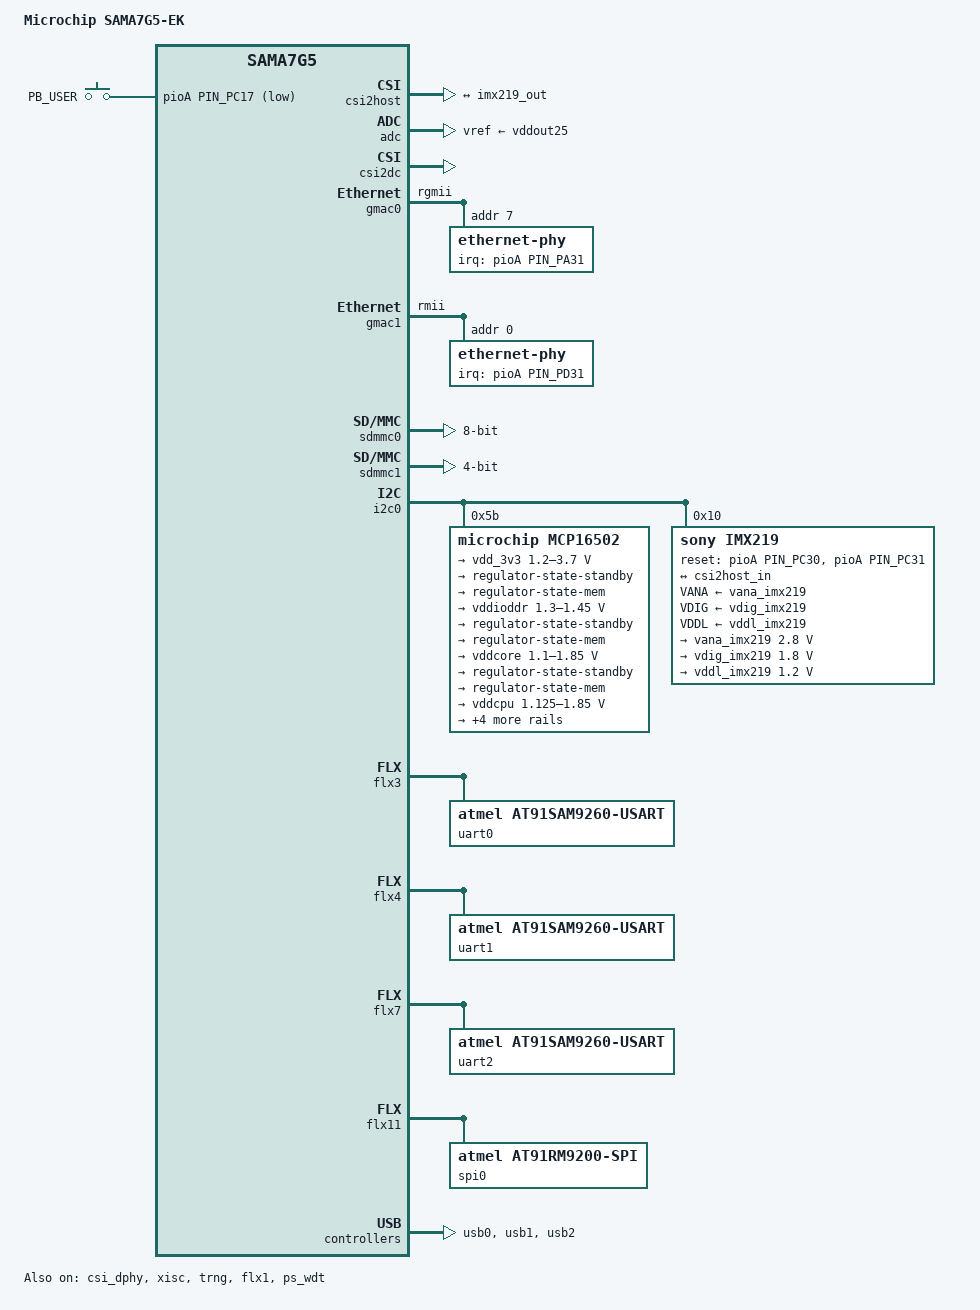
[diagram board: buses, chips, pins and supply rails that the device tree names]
// SPDX-License-Identifier: (GPL-2.0+ OR MIT)
/*
 * at91-sama7g5ek.dts - Device Tree file for SAMA7G5-EK board
 *
 *  Copyright (c) 2020, Microchip Technology Inc. and its subsidiaries
 *
 *  Author: Eugen Hristev <eugen.hristev@microchip.com>
 *  Author: Claudiu Beznea <claudiu.beznea@microchip.com>
 *
 */
/dts-v1/;
#include "sama7g5-pinfunc.h"
#include "sama7g5.dtsi"
#include <dt-bindings/mfd/atmel-flexcom.h>
#include <dt-bindings/input/input.h>

/ {
	model = "Microchip SAMA7G5-EK";
	compatible = "microchip,sama7g5ek", "microchip,sama7g5", "microchip,sama7";

	chosen {
		bootargs = "console=ttyS0,115200 earlycon earlyprintk=serial,ttyS0 ignore_loglevel rw root=/dev/mmcblk0p2 memtest=0 rootfstype=ext4 rootwait cma=256m";
		stdout-path = "serial0:115200n8";
	};

	aliases {
		serial0 = &uart0;
		serial1 = &uart1;
		serial2 = &uart2;
		i2c0 = &i2c0;
	};

	clocks {
		slow_xtal {
			clock-frequency = <32768>;
		};

		main_xtal {
			clock-frequency = <24000000>;
		};
	};

	gpio_keys {
		compatible = "gpio-keys";

		pinctrl-names = "default";
		pinctrl-0 = <&pinctrl_key_gpio_default>;

		bp1 {
			label = "PB_USER";
			gpios = <&pioA PIN_PC17 GPIO_ACTIVE_LOW>;
			linux,code = <KEY_PROG1>;
			wakeup-source;
		};
	};
};

&dma0 {
	status = "okay";
};

&dma1 {
	status = "okay";
};

&dma2 {
	status = "okay";
};

&csi_dphy {
	status = "okay";
};

&csi2host {
	status = "okay";

	port@1 {
		reg = <1>;
		csi2host_in: endpoint {
			remote-endpoint = <&imx219_out>;
			data-lanes = <1 2>;
			bus-type = <4>;
			clock-lanes = <0>;
		};
	};
};

&adc {
	vddana-supply = <&vddout25>;
	vref-supply = <&vddout25>;
	pinctrl-names = "default";
	pinctrl-0 = <&pinctrl_mikrobus1_an_default &pinctrl_mikrobus2_an_default>;
	status = "okay";
};

&csi2dc {
	status = "okay";
};

&xisc {
	status = "okay";
};

&gic {
	status = "okay";
};

&gmac0 {
	#address-cells = <1>;
	#size-cells = <0>;
	pinctrl-names = "default";
	pinctrl-0 = <&pinctrl_gmac0_default &pinctrl_gmac0_phy_irq>;
	phy-mode = "rgmii";
	status = "okay";

	ethernet-phy@7 {
		reg = <0x7>;
		interrupt-parent = <&pioA>;
		interrupts = <PIN_PA31 IRQ_TYPE_LEVEL_LOW>;
		txc-skew-ps = <1860>;
		txdv-skew-ps = <(-900)>;
		txd0-skew-ps = <(-900)>;
		txd1-skew-ps = <(-900)>;
		txd2-skew-ps = <(-900)>;
		txd3-skew-ps = <(-900)>;
	};
};

&gmac1 {
	#address-cells = <1>;
	#size-cells = <0>;
	pinctrl-names = "default";
	pinctrl-0 = <&pinctrl_gmac1_default &pinctrl_gmac1_phy_irq>;
	phy-mode = "rmii";
	status = "okay";

	ethernet-phy@0 {
		reg = <0x0>;
		interrupt-parent = <&pioA>;
		interrupts = <PIN_PD31 IRQ_TYPE_LEVEL_LOW>;
	};
};

&sdmmc0 {
	bus-width = <8>;
	mmc-ddr-3_3v;
	pinctrl-names = "default";
	pinctrl-0 = <&pinctrl_sdmmc0_default>;
	status = "okay";
};

&sdmmc1 {
	bus-width = <4>;
	mmc-ddr-3_3v;
	pinctrl-names = "default";
	pinctrl-0 = <&pinctrl_sdmmc1_default>;
	status = "okay";
};

&trng {
	status = "okay";
};

&flx1 {
	atmel,flexcom-mode = <ATMEL_FLEXCOM_MODE_TWI>;
	status = "okay";

	i2c0: i2c@600 {
		compatible = "microchip,sam9x60-i2c";
		reg = <0x600 0x200>;
		interrupts = <GIC_SPI 39 IRQ_TYPE_LEVEL_HIGH>;
		pinctrl-names = "default";
		pinctrl-0 = <&pinctrl_flx1_default>;
		#address-cells = <1>;
		#size-cells = <0>;
		clocks = <&pmc PMC_TYPE_PERIPHERAL 39>;
		atmel,fifo-size = <32>;
		dmas = <&dma0 AT91_XDMAC_DT_PERID(7)>,
			<&dma0 AT91_XDMAC_DT_PERID(8)>;
		dma-names = "rx", "tx";
		atmel,use-dma-rx;
		atmel,use-dma-tx;

		i2c-analog-filter;
		i2c-digital-filter;
		i2c-digital-filter-width-ns = <35>;
		status = "okay";

		mcp16502@5b {
			compatible = "microchip,mcp16502";
			reg = <0x5b>;
			status = "okay";

			regulators {
				vdd_3v3: VDD_IO {
					regulator-name = "VDD_IO";
					regulator-min-microvolt = <1200000>;
					regulator-max-microvolt = <3700000>;
					regulator-initial-mode = <2>;
					regulator-allowed-modes = <2>, <4>;
					regulator-always-on;

					regulator-state-standby {
						regulator-on-in-suspend;
						regulator-mode = <4>;
					};

					regulator-state-mem {
						regulator-off-in-suspend;
						regulator-mode = <4>;
					};
				};

				vddioddr: VDD_DDR {
					regulator-name = "VDD_DDR";
					regulator-min-microvolt = <1300000>;
					regulator-max-microvolt = <1450000>;
					regulator-initial-mode = <2>;
					regulator-allowed-modes = <2>, <4>;
					regulator-always-on;

					regulator-state-standby {
						regulator-on-in-suspend;
						regulator-mode = <4>;
					};

					regulator-state-mem {
						regulator-on-in-suspend;
						regulator-mode = <4>;
					};
				};

				vddcore: VDD_CORE {
					regulator-name = "VDD_CORE";
					regulator-min-microvolt = <1100000>;
					regulator-max-microvolt = <1850000>;
					regulator-initial-mode = <2>;
					regulator-allowed-modes = <2>, <4>;
					regulator-always-on;

					regulator-state-standby {
						regulator-on-in-suspend;
						regulator-mode = <4>;
					};

					regulator-state-mem {
						regulator-off-in-suspend;
						regulator-mode = <4>;
					};
				};

				vddcpu: VDD_OTHER {
					regulator-name = "VDD_OTHER";
					regulator-min-microvolt = <1125000>;
					regulator-max-microvolt = <1850000>;
					regulator-initial-mode = <2>;
					regulator-allowed-modes = <2>, <4>;
					regulator-ramp-delay = <3125>;
					regulator-always-on;

					regulator-state-standby {
						regulator-on-in-suspend;
						regulator-mode = <4>;
					};

					regulator-state-mem {
						regulator-off-in-suspend;
						regulator-mode = <4>;
					};
				};

				vldo1: LDO1 {
					regulator-name = "LDO1";
					regulator-min-microvolt = <1200000>;
					regulator-max-microvolt = <3700000>;
					regulator-always-on;

					regulator-state-standby {
						regulator-on-in-suspend;
					};

					regulator-state-mem {
						regulator-off-in-suspend;
					};
				};

				vldo2: LDO2 {
					regulator-name = "LDO2";
					regulator-min-microvolt = <1200000>;
					regulator-max-microvolt = <3700000>;

					regulator-state-standby {
						regulator-on-in-suspend;
					};

					regulator-state-mem {
						regulator-off-in-suspend;
					};
				};
			};
		};
	};
};

&flx3 {
	atmel,flexcom-mode = <ATMEL_FLEXCOM_MODE_USART>;
	status = "okay";

	uart0: serial@200 {
		compatible = "atmel,at91sam9260-usart";
		reg = <0x200 0x200>;
		interrupts = <GIC_SPI 41 IRQ_TYPE_LEVEL_HIGH>;
		pinctrl-names = "default";
		pinctrl-0 = <&pinctrl_flx3_default>;
		clocks = <&pmc PMC_TYPE_PERIPHERAL 41>;
		clock-names = "usart";
		dmas = <&dma1 AT91_XDMAC_DT_PERID(12)>,
			<&dma1 AT91_XDMAC_DT_PERID(11)>;
		dma-names = "tx", "rx";
		atmel,use-dma-rx;
		atmel,use-dma-tx;
		status = "okay";
	};
};

&flx4 {
	atmel,flexcom-mode = <ATMEL_FLEXCOM_MODE_USART>;
	status = "okay";

	uart1: serial@200 {
		compatible = "atmel,at91sam9260-usart";
		reg = <0x200 0x200>;
		interrupts = <GIC_SPI 42 IRQ_TYPE_LEVEL_HIGH>;
		pinctrl-names = "default";
		pinctrl-0 = <&pinctrl_flx4_default>;
		clocks = <&pmc PMC_TYPE_PERIPHERAL 42>;
		clock-names = "usart";
		dmas = <&dma1 AT91_XDMAC_DT_PERID(14)>,
			<&dma1 AT91_XDMAC_DT_PERID(13)>;
		dma-names = "tx", "rx";
		atmel,use-dma-rx;
		atmel,use-dma-tx;
		atmel,fifo-size = <16>;
		status = "okay";
	};
};

&flx7 {
	atmel,flexcom-mode = <ATMEL_FLEXCOM_MODE_USART>;
	status = "okay";

	uart2: serial@200 {
		compatible = "atmel,at91sam9260-usart";
		reg = <0x200 0x200>;
		interrupts = <GIC_SPI 45 IRQ_TYPE_LEVEL_HIGH>;
		pinctrl-names = "default";
		pinctrl-0 = <&pinctrl_flx7_default>;
		clocks = <&pmc PMC_TYPE_PERIPHERAL 45>;
		clock-names = "usart";
		dmas = <&dma1 AT91_XDMAC_DT_PERID(20)>,
			<&dma1 AT91_XDMAC_DT_PERID(19)>;
		dma-names = "tx", "rx";
		atmel,use-dma-rx;
		atmel,use-dma-tx;
		atmel,fifo-size = <16>;
		status = "okay";
	};
};

&flx11 {
	atmel,flexcom-mode = <ATMEL_FLEXCOM_MODE_SPI>;
	status = "okay";

	spi0: spi@400 {
		compatible = "atmel,at91rm9200-spi";
		reg = <0x400 0x200>;
		interrupts = <GIC_SPI 49 IRQ_TYPE_LEVEL_HIGH>;
		clocks = <&pmc PMC_TYPE_PERIPHERAL 49>;
		clock-names = "spi_clk";
		pinctrl-names = "default";
		pinctrl-0 = <&pinctrl_mikrobus1_spi &pinctrl_mikrobus1_spi_cs>;
		atmel,fifo-size = <32>;
		dmas = <&dma0 AT91_XDMAC_DT_PERID(27)>,
			    <&dma0 AT91_XDMAC_DT_PERID(28)>;
		dma-names = "rx", "tx";
		status = "okay";
		#address-cells = <1>;
		#size-cells = <0>;

		spidev0: spidev@0 {
			compatible = "microchip,spidev";
			spi-max-frequency = <120000000>;
			reg = <0>;
			status = "okay";
		};
	};
};

&i2c0 {
	/*
	 * Camera sensor add-on board Raspberry Pi v2.1 Camera extension
	 *
	 * Sensor i2c address is fixed at 0x10
	 *
	 * 24 Mhz crystal is soldered on the board and hardwired to sensor
	 *
	 * Power supplies are present on the board and supplied by 3v3
	 * rail from sama7g5ek PMIC
	 */
	imx219: camera@10 {
		compatible = "sony,imx219";
		reg = <0x10>;
		clocks = <&imx219_clk>;
		clock-names = "xclk";
		pinctrl-names = "default";
		pinctrl-0 = <&pinctrl_sensor_power &pinctrl_sensor_reset>;
		VANA-supply = <&vana_imx219>; /* 2.8v */
		VDIG-supply = <&vdig_imx219>; /* 1.8v */
		VDDL-supply = <&vddl_imx219>; /* 1.2v */
		reset-gpios = <&pioA PIN_PC30 GPIO_ACTIVE_HIGH>,
				<&pioA PIN_PC31 GPIO_ACTIVE_HIGH>;
		status = "okay";

		imx219_clk: camera-clk {
			compatible = "fixed-clock";
			#clock-cells = <0>;
			clock-frequency = <24000000>;
		};

		port {
			imx219_out: endpoint {
				remote-endpoint = <&csi2host_in>;
				clock-lanes = <0>;
				data-lanes = <1 2>;
				link-frequencies = /bits/ 64 <456000000>;
				clock-noncontinuous;
			};
		};

		vana_imx219: fixed-regulator-vana {
			compatible = "regulator-fixed";

			regulator-name = "VANA-supply";
			regulator-min-microvolt = <2800000>;
			regulator-max-microvolt = <2800000>;
			regulator-always-on;
			regulator-boot-on;
			status = "okay";
		};

		vdig_imx219: fixed-regulator-vdig {
			compatible = "regulator-fixed";

			regulator-name = "VDIG-supply";
			regulator-min-microvolt = <1800000>;
			regulator-max-microvolt = <1800000>;
			regulator-always-on;
			regulator-boot-on;
			vin-supply = <&vana_imx219>;
			status = "okay";
		};

		vddl_imx219: fixed-regulator-vddl {
			compatible = "regulator-fixed";

			regulator-name = "VDDL-supply";
			regulator-min-microvolt = <1200000>;
			regulator-max-microvolt = <1200000>;
			regulator-always-on;
			regulator-boot-on;
			vin-supply = <&vana_imx219>;
			status = "okay";
		};
	};
};

&pioA {
	pinctrl_flx1_default: flx1_default {
		pinmux = <PIN_PC9__FLEXCOM1_IO0>,
			 <PIN_PC10__FLEXCOM1_IO1>;
		bias-disable;
	};

	pinctrl_flx3_default: flx3_default {
		pinmux = <PIN_PD16__FLEXCOM3_IO0>,
			 <PIN_PD17__FLEXCOM3_IO1>;
		bias-disable;
	};

	pinctrl_flx4_default: flx4_default {
		pinmux = <PIN_PD18__FLEXCOM4_IO0>,
			 <PIN_PD19__FLEXCOM4_IO1>;
		bias-disable;
	};

	pinctrl_flx7_default: flx7_default {
		pinmux = <PIN_PC7__FLEXCOM7_IO0>,
			 <PIN_PC8__FLEXCOM7_IO1>;
		bias-disable;
	};

	pinctrl_gmac0_default: gmac0_default {
		pinmux = <PIN_PA16__G0_TX0>,
			 <PIN_PA17__G0_TX1>,
			 <PIN_PA26__G0_TX2>,
			 <PIN_PA27__G0_TX3>,
			 <PIN_PA19__G0_RX0>,
			 <PIN_PA20__G0_RX1>,
			 <PIN_PA28__G0_RX2>,
			 <PIN_PA29__G0_RX3>,
			 <PIN_PA15__G0_TXEN>,
			 <PIN_PA24__G0_TXCK>,
			 <PIN_PA21__G0_RXER>,
			 <PIN_PA30__G0_RXCK>,
			 <PIN_PA18__G0_RXDV>,
			 <PIN_PA22__G0_MDC>,
			 <PIN_PA23__G0_MDIO>,
			 <PIN_PA25__G0_125CK>;
		bias-disable;
	};

	pinctrl_gmac0_phy_irq: gmac0_phy_irq {
		pinmux = <PIN_PA31__GPIO>;
		bias-disable;
	};

	pinctrl_gmac1_default: gmac1_default {
		pinmux = <PIN_PD30__G1_TXCK>,
			 <PIN_PD22__G1_TX0>,
			 <PIN_PD23__G1_TX1>,
			 <PIN_PD21__G1_TXEN>,
			 <PIN_PD25__G1_RX0>,
			 <PIN_PD26__G1_RX1>,
			 <PIN_PD27__G1_RXER>,
			 <PIN_PD24__G1_RXDV>,
			 <PIN_PD28__G1_MDC>,
			 <PIN_PD29__G1_MDIO>;
		bias-disable;
	};

	pinctrl_gmac1_phy_irq: gmac1_phy_irq {
		pinmux = <PIN_PD31__GPIO>;
		bias-disable;
	};

	pinctrl_key_gpio_default: key_gpio_default {
		pinmux = <PIN_PC17__GPIO>;
		bias-pull-up;
	};

	pinctrl_mikrobus1_an_default: mikrobus1_an_default {
		pinmux = <PIN_PD0__GPIO>;
		bias-disable;
	};

	pinctrl_mikrobus2_an_default: mikrobus2_an_default {
		pinmux = <PIN_PD1__GPIO>;
		bias-disable;
	};

	pinctrl_mikrobus1_spi_cs: mikrobus1_spi_cs {
		pinmux = <PIN_PB6__FLEXCOM11_IO3>;
		bias-disable;
	};

	pinctrl_mikrobus1_spi: mikrobus1_spi {
		pinmux = <PIN_PB3__FLEXCOM11_IO0>,
			 <PIN_PB4__FLEXCOM11_IO1>,
			 <PIN_PB5__FLEXCOM11_IO2>;
		bias-disable;
	};

	pinctrl_sdmmc0_default: sdmmc0_default {
		cmd_data {
			pinmux = <PIN_PA1__SDMMC0_CMD>,
				 <PIN_PA3__SDMMC0_DAT0>,
				 <PIN_PA4__SDMMC0_DAT1>,
				 <PIN_PA5__SDMMC0_DAT2>,
				 <PIN_PA6__SDMMC0_DAT3>,
				 <PIN_PA7__SDMMC0_DAT4>,
				 <PIN_PA8__SDMMC0_DAT5>,
				 <PIN_PA9__SDMMC0_DAT6>,
				 <PIN_PA10__SDMMC0_DAT7>;
			bias-pull-up;
		};

		ck_cd_rstn_vddsel {
			pinmux = <PIN_PA0__SDMMC0_CK>,
				 <PIN_PA2__SDMMC0_RSTN>,
				 <PIN_PA13__SDMMC0_1V8SEL>,
				 <PIN_PA14__SDMMC0_CD>;
			bias-pull-up;
		};
	};

	pinctrl_sdmmc1_default: sdmmc1_default {
		cmd_data {
			pinmux = <PIN_PB29__SDMMC1_CMD>,
				 <PIN_PB31__SDMMC1_DAT0>,
				 <PIN_PC0__SDMMC1_DAT1>,
				 <PIN_PC1__SDMMC1_DAT2>,
				 <PIN_PC2__SDMMC1_DAT3>;
			bias-pull-up;
		};

		ck_cd_rstn_vddsel {
			pinmux = <PIN_PB30__SDMMC1_CK>,
				 <PIN_PB28__SDMMC1_RSTN>,
				 <PIN_PC5__SDMMC1_1V8SEL>,
				 <PIN_PC4__SDMMC1_CD>;
			bias-pull-up;
		};
	};

	pinctrl_usb_default: usb_default {
		pinmux = <PIN_PE2__GPIO>;
		bias-disable;
	};

	pinctrl_usba_vbus: usba_vbus {
		pinmux = <PIN_PC14__GPIO>;
		bias-disable;
	};
};

&pioA {
	pinctrl_sensor_power: sensor_power {
		pinmux = <PIN_PC30__GPIO>;
		bias-disable;
	};

	pinctrl_sensor_reset: sensor_reset {
		pinmux = <PIN_PC31__GPIO>;
		bias-disable;
	};
};

&ps_wdt {
	status = "okay";
};

&usb0 {
	atmel,vbus-gpio = <&pioA PIN_PC14 GPIO_ACTIVE_HIGH>;
	pinctrl-names = "default";
	pinctrl-0 = <&pinctrl_usba_vbus>;
	status = "okay";
};

&usb1 {
	num-ports = <3>;
	atmel,vbus-gpio = <0
			   &pioA PIN_PE2 GPIO_ACTIVE_HIGH
			   0
			  >;
	pinctrl-names = "default";
	pinctrl-0 = <&pinctrl_usb_default>;
	status = "okay";
};

&usb2 {
	status = "okay";
};

&vddout25 {
	vin-supply = <&vdd_3v3>;
	status = "okay";
};
